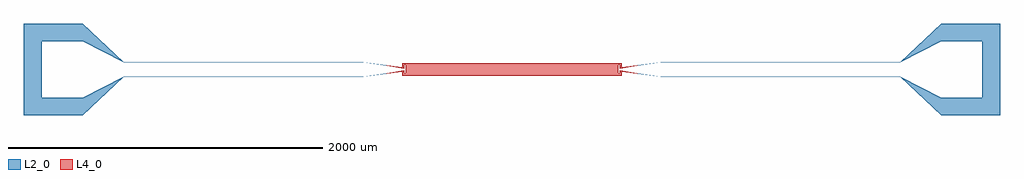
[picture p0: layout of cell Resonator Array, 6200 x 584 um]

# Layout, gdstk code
import gdstk
lib = gdstk.Library(unit=1e-6, precision=1e-09)
def P(c, l, *ps):  # polygons
    for p in ps: c.add(gdstk.Polygon(p, *l))
L2_0 = (2, 0)
L4_0 = (4, 0)

resonator_array = lib.new_cell('Resonator Array')
P(resonator_array, L2_0, [(1443,51.306),(1443,47.259),(1593,69.9),(3112,69.9),(3373.5,204.9),(3635,204.9),(3635,-155.1),(3373.5,-155.1),(3112,-20.1),(1593,-20.1),(1443,2.541),(1443,-1.506),(1593,-21.6),(3112,-21.6),(3373.5,-267.1),(3747,-267.1),(3747,316.9),(3373.5,316.9),(3112,71.4),(1593,71.4)],
  [(-2453,316.9),(-2453,-267.1),(-2079.5,-267.1),(-1818,-21.6),(-299,-21.6),(-149,-1.506),(-149,2.541),(-299,-20.1),(-1818,-20.1),(-2079.5,-155.1),(-2341,-155.1),(-2341,204.9),(-2079.5,204.9),(-1818,69.9),(-299,69.9),(-149,47.259),(-149,51.306),(-299,71.4),(-1818,71.4),(-2079.5,316.9)])
P(resonator_array, L4_0, [(365.5,64.8),(336.25,64.8),(336.25,55.65),(327.1,55.65),(327.1,51.15),(345.4,51.15),(345.4,45.65),(327.1,45.65),(327.1,41.15),(345.4,41.15),(345.4,35.65),(327.1,35.65),(327.1,31.15),(345.4,31.15),(345.4,25.65),(327.1,25.65),(327.1,21.15),(345.4,21.15),(345.4,15.65),(327.1,15.65),(327.1,11.15),(336.25,11.15),(336.25,2),(353,2),(353,56.15),(355,56.15),(355,0),(317,0),(317,56.15),(319,56.15),(319,2),(335.75,2),(335.75,10.65),(326.6,10.65),(326.6,16.15),(344.9,16.15),(344.9,20.65),(326.6,20.65),(326.6,26.15),(344.9,26.15),(344.9,30.65),(326.6,30.65),(326.6,36.15),(344.9,36.15),(344.9,40.65),(326.6,40.65),(326.6,46.15),(344.9,46.15),(344.9,50.65),(326.6,50.65),(326.6,56.15),(335.75,56.15),(335.75,64.8),(312.5,64.8),(312.5,-15),(365.5,-15)],
  [(85.5,64.8),(62.25,64.8),(62.25,55.65),(53.1,55.65),(53.1,51.15),(71.4,51.15),(71.4,45.65),(53.1,45.65),(53.1,41.15),(71.4,41.15),(71.4,35.65),(53.1,35.65),(53.1,31.15),(71.4,31.15),(71.4,25.65),(53.1,25.65),(53.1,21.15),(71.4,21.15),(71.4,15.65),(53.1,15.65),(53.1,11.15),(62.25,11.15),(62.25,2),(79,2),(79,56.15),(81,56.15),(81,0),(43,0),(43,56.15),(45,56.15),(45,2),(61.75,2),(61.75,10.65),(52.6,10.65),(52.6,16.15),(70.9,16.15),(70.9,20.65),(52.6,20.65),(52.6,26.15),(70.9,26.15),(70.9,30.65),(52.6,30.65),(52.6,36.15),(70.9,36.15),(70.9,40.65),(52.6,40.65),(52.6,46.15),(70.9,46.15),(70.9,50.65),(52.6,50.65),(52.6,56.15),(61.75,56.15),(61.75,64.8),(32.5,64.8),(32.5,-15),(85.5,-15)],
  [(197.5,64.8),(174.25,64.8),(174.25,55.65),(165.1,55.65),(165.1,51.15),(183.4,51.15),(183.4,45.65),(165.1,45.65),(165.1,41.15),(183.4,41.15),(183.4,35.65),(165.1,35.65),(165.1,31.15),(183.4,31.15),(183.4,25.65),(165.1,25.65),(165.1,21.15),(183.4,21.15),(183.4,15.65),(165.1,15.65),(165.1,11.15),(174.25,11.15),(174.25,2),(191,2),(191,56.15),(193,56.15),(193,0),(155,0),(155,56.15),(157,56.15),(157,2),(173.75,2),(173.75,10.65),(164.6,10.65),(164.6,16.15),(182.9,16.15),(182.9,20.65),(164.6,20.65),(164.6,26.15),(182.9,26.15),(182.9,30.65),(164.6,30.65),(164.6,36.15),(182.9,36.15),(182.9,40.65),(164.6,40.65),(164.6,46.15),(182.9,46.15),(182.9,50.65),(164.6,50.65),(164.6,56.15),(173.75,56.15),(173.75,64.8),(144.5,64.8),(144.5,-15),(197.5,-15)],
  [(141.5,64.8),(112.25,64.8),(112.25,55.65),(103.1,55.65),(103.1,51.15),(121.4,51.15),(121.4,45.65),(103.1,45.65),(103.1,41.15),(121.4,41.15),(121.4,35.65),(103.1,35.65),(103.1,31.15),(121.4,31.15),(121.4,25.65),(103.1,25.65),(103.1,21.15),(121.4,21.15),(121.4,15.65),(103.1,15.65),(103.1,11.15),(112.25,11.15),(112.25,2),(129,2),(129,56.15),(131,56.15),(131,0),(93,0),(93,56.15),(95,56.15),(95,2),(111.75,2),(111.75,10.65),(102.6,10.65),(102.6,16.15),(120.9,16.15),(120.9,20.65),(102.6,20.65),(102.6,26.15),(120.9,26.15),(120.9,30.65),(102.6,30.65),(102.6,36.15),(120.9,36.15),(120.9,40.65),(102.6,40.65),(102.6,46.15),(120.9,46.15),(120.9,50.65),(102.6,50.65),(102.6,56.15),(111.75,56.15),(111.75,64.8),(88.5,64.8),(88.5,-15),(141.5,-15)],
  [(869.5,64.8),(846.25,64.8),(846.25,55.65),(837.1,55.65),(837.1,51.15),(855.4,51.15),(855.4,45.65),(837.1,45.65),(837.1,41.15),(855.4,41.15),(855.4,35.65),(837.1,35.65),(837.1,31.15),(855.4,31.15),(855.4,25.65),(837.1,25.65),(837.1,21.15),(855.4,21.15),(855.4,15.65),(837.1,15.65),(837.1,11.15),(846.25,11.15),(846.25,2),(863,2),(863,56.15),(865,56.15),(865,0),(827,0),(827,56.15),(829,56.15),(829,2),(845.75,2),(845.75,10.65),(836.6,10.65),(836.6,16.15),(854.9,16.15),(854.9,20.65),(836.6,20.65),(836.6,26.15),(854.9,26.15),(854.9,30.65),(836.6,30.65),(836.6,36.15),(854.9,36.15),(854.9,40.65),(836.6,40.65),(836.6,46.15),(854.9,46.15),(854.9,50.65),(836.6,50.65),(836.6,56.15),(845.75,56.15),(845.75,64.8),(816.5,64.8),(816.5,-15),(869.5,-15)],
  [(925.5,64.8),(896.25,64.8),(896.25,55.65),(887.1,55.65),(887.1,51.15),(905.4,51.15),(905.4,45.65),(887.1,45.65),(887.1,41.15),(905.4,41.15),(905.4,35.65),(887.1,35.65),(887.1,31.15),(905.4,31.15),(905.4,25.65),(887.1,25.65),(887.1,21.15),(905.4,21.15),(905.4,15.65),(887.1,15.65),(887.1,11.15),(896.25,11.15),(896.25,2),(913,2),(913,56.15),(915,56.15),(915,0),(877,0),(877,56.15),(879,56.15),(879,2),(895.75,2),(895.75,10.65),(886.6,10.65),(886.6,16.15),(904.9,16.15),(904.9,20.65),(886.6,20.65),(886.6,26.15),(904.9,26.15),(904.9,30.65),(886.6,30.65),(886.6,36.15),(904.9,36.15),(904.9,40.65),(886.6,40.65),(886.6,46.15),(904.9,46.15),(904.9,50.65),(886.6,50.65),(886.6,56.15),(895.75,56.15),(895.75,64.8),(872.5,64.8),(872.5,-15),(925.5,-15)],
  [(421.5,64.8),(398.25,64.8),(398.25,55.65),(389.1,55.65),(389.1,51.15),(407.4,51.15),(407.4,45.65),(389.1,45.65),(389.1,41.15),(407.4,41.15),(407.4,35.65),(389.1,35.65),(389.1,31.15),(407.4,31.15),(407.4,25.65),(389.1,25.65),(389.1,21.15),(407.4,21.15),(407.4,15.65),(389.1,15.65),(389.1,11.15),(398.25,11.15),(398.25,2),(415,2),(415,56.15),(417,56.15),(417,0),(379,0),(379,56.15),(381,56.15),(381,2),(397.75,2),(397.75,10.65),(388.6,10.65),(388.6,16.15),(406.9,16.15),(406.9,20.65),(388.6,20.65),(388.6,26.15),(406.9,26.15),(406.9,30.65),(388.6,30.65),(388.6,36.15),(406.9,36.15),(406.9,40.65),(388.6,40.65),(388.6,46.15),(406.9,46.15),(406.9,50.65),(388.6,50.65),(388.6,56.15),(397.75,56.15),(397.75,64.8),(368.5,64.8),(368.5,-15),(421.5,-15)],
  [(981.5,64.8),(958.25,64.8),(958.25,55.65),(949.1,55.65),(949.1,51.15),(967.4,51.15),(967.4,45.65),(949.1,45.65),(949.1,41.15),(967.4,41.15),(967.4,35.65),(949.1,35.65),(949.1,31.15),(967.4,31.15),(967.4,25.65),(949.1,25.65),(949.1,21.15),(967.4,21.15),(967.4,15.65),(949.1,15.65),(949.1,11.15),(958.25,11.15),(958.25,2),(975,2),(975,56.15),(977,56.15),(977,0),(939,0),(939,56.15),(941,56.15),(941,2),(957.75,2),(957.75,10.65),(948.6,10.65),(948.6,16.15),(966.9,16.15),(966.9,20.65),(948.6,20.65),(948.6,26.15),(966.9,26.15),(966.9,30.65),(948.6,30.65),(948.6,36.15),(966.9,36.15),(966.9,40.65),(948.6,40.65),(948.6,46.15),(966.9,46.15),(966.9,50.65),(948.6,50.65),(948.6,56.15),(957.75,56.15),(957.75,64.8),(928.5,64.8),(928.5,-15),(981.5,-15)],
  [(477.5,64.8),(448.25,64.8),(448.25,55.65),(439.1,55.65),(439.1,51.15),(457.4,51.15),(457.4,45.65),(439.1,45.65),(439.1,41.15),(457.4,41.15),(457.4,35.65),(439.1,35.65),(439.1,31.15),(457.4,31.15),(457.4,25.65),(439.1,25.65),(439.1,21.15),(457.4,21.15),(457.4,15.65),(439.1,15.65),(439.1,11.15),(448.25,11.15),(448.25,2),(465,2),(465,56.15),(467,56.15),(467,0),(429,0),(429,56.15),(431,56.15),(431,2),(447.75,2),(447.75,10.65),(438.6,10.65),(438.6,16.15),(456.9,16.15),(456.9,20.65),(438.6,20.65),(438.6,26.15),(456.9,26.15),(456.9,30.65),(438.6,30.65),(438.6,36.15),(456.9,36.15),(456.9,40.65),(438.6,40.65),(438.6,46.15),(456.9,46.15),(456.9,50.65),(438.6,50.65),(438.6,56.15),(447.75,56.15),(447.75,64.8),(424.5,64.8),(424.5,-15),(477.5,-15)],
  [(533.5,64.8),(510.25,64.8),(510.25,55.65),(501.1,55.65),(501.1,51.15),(519.4,51.15),(519.4,45.65),(501.1,45.65),(501.1,41.15),(519.4,41.15),(519.4,35.65),(501.1,35.65),(501.1,31.15),(519.4,31.15),(519.4,25.65),(501.1,25.65),(501.1,21.15),(519.4,21.15),(519.4,15.65),(501.1,15.65),(501.1,11.15),(510.25,11.15),(510.25,2),(527,2),(527,56.15),(529,56.15),(529,0),(491,0),(491,56.15),(493,56.15),(493,2),(509.75,2),(509.75,10.65),(500.6,10.65),(500.6,16.15),(518.9,16.15),(518.9,20.65),(500.6,20.65),(500.6,26.15),(518.9,26.15),(518.9,30.65),(500.6,30.65),(500.6,36.15),(518.9,36.15),(518.9,40.65),(500.6,40.65),(500.6,46.15),(518.9,46.15),(518.9,50.65),(500.6,50.65),(500.6,56.15),(509.75,56.15),(509.75,64.8),(480.5,64.8),(480.5,-15),(533.5,-15)],
  [(1037.5,64.8),(1008.25,64.8),(1008.25,55.65),(999.1,55.65),(999.1,51.15),(1017.4,51.15),(1017.4,45.65),(999.1,45.65),(999.1,41.15),(1017.4,41.15),(1017.4,35.65),(999.1,35.65),(999.1,31.15),(1017.4,31.15),(1017.4,25.65),(999.1,25.65),(999.1,21.15),(1017.4,21.15),(1017.4,15.65),(999.1,15.65),(999.1,11.15),(1008.25,11.15),(1008.25,2),(1025,2),(1025,56.15),(1027,56.15),(1027,0),(989,0),(989,56.15),(991,56.15),(991,2),(1007.75,2),(1007.75,10.65),(998.6,10.65),(998.6,16.15),(1016.9,16.15),(1016.9,20.65),(998.6,20.65),(998.6,26.15),(1016.9,26.15),(1016.9,30.65),(998.6,30.65),(998.6,36.15),(1016.9,36.15),(1016.9,40.65),(998.6,40.65),(998.6,46.15),(1016.9,46.15),(1016.9,50.65),(998.6,50.65),(998.6,56.15),(1007.75,56.15),(1007.75,64.8),(984.5,64.8),(984.5,-15),(1037.5,-15)],
  [(589.5,64.8),(560.25,64.8),(560.25,55.65),(551.1,55.65),(551.1,51.15),(569.4,51.15),(569.4,45.65),(551.1,45.65),(551.1,41.15),(569.4,41.15),(569.4,35.65),(551.1,35.65),(551.1,31.15),(569.4,31.15),(569.4,25.65),(551.1,25.65),(551.1,21.15),(569.4,21.15),(569.4,15.65),(551.1,15.65),(551.1,11.15),(560.25,11.15),(560.25,2),(577,2),(577,56.15),(579,56.15),(579,0),(541,0),(541,56.15),(543,56.15),(543,2),(559.75,2),(559.75,10.65),(550.6,10.65),(550.6,16.15),(568.9,16.15),(568.9,20.65),(550.6,20.65),(550.6,26.15),(568.9,26.15),(568.9,30.65),(550.6,30.65),(550.6,36.15),(568.9,36.15),(568.9,40.65),(550.6,40.65),(550.6,46.15),(568.9,46.15),(568.9,50.65),(550.6,50.65),(550.6,56.15),(559.75,56.15),(559.75,64.8),(536.5,64.8),(536.5,-15),(589.5,-15)],
  [(1093.5,64.8),(1070.25,64.8),(1070.25,55.65),(1061.1,55.65),(1061.1,51.15),(1079.4,51.15),(1079.4,45.65),(1061.1,45.65),(1061.1,41.15),(1079.4,41.15),(1079.4,35.65),(1061.1,35.65),(1061.1,31.15),(1079.4,31.15),(1079.4,25.65),(1061.1,25.65),(1061.1,21.15),(1079.4,21.15),(1079.4,15.65),(1061.1,15.65),(1061.1,11.15),(1070.25,11.15),(1070.25,2),(1087,2),(1087,56.15),(1089,56.15),(1089,0),(1051,0),(1051,56.15),(1053,56.15),(1053,2),(1069.75,2),(1069.75,10.65),(1060.6,10.65),(1060.6,16.15),(1078.9,16.15),(1078.9,20.65),(1060.6,20.65),(1060.6,26.15),(1078.9,26.15),(1078.9,30.65),(1060.6,30.65),(1060.6,36.15),(1078.9,36.15),(1078.9,40.65),(1060.6,40.65),(1060.6,46.15),(1078.9,46.15),(1078.9,50.65),(1060.6,50.65),(1060.6,56.15),(1069.75,56.15),(1069.75,64.8),(1040.5,64.8),(1040.5,-15),(1093.5,-15)],
  [(645.5,64.8),(622.25,64.8),(622.25,55.65),(613.1,55.65),(613.1,51.15),(631.4,51.15),(631.4,45.65),(613.1,45.65),(613.1,41.15),(631.4,41.15),(631.4,35.65),(613.1,35.65),(613.1,31.15),(631.4,31.15),(631.4,25.65),(613.1,25.65),(613.1,21.15),(631.4,21.15),(631.4,15.65),(613.1,15.65),(613.1,11.15),(622.25,11.15),(622.25,2),(639,2),(639,56.15),(641,56.15),(641,0),(603,0),(603,56.15),(605,56.15),(605,2),(621.75,2),(621.75,10.65),(612.6,10.65),(612.6,16.15),(630.9,16.15),(630.9,20.65),(612.6,20.65),(612.6,26.15),(630.9,26.15),(630.9,30.65),(612.6,30.65),(612.6,36.15),(630.9,36.15),(630.9,40.65),(612.6,40.65),(612.6,46.15),(630.9,46.15),(630.9,50.65),(612.6,50.65),(612.6,56.15),(621.75,56.15),(621.75,64.8),(592.5,64.8),(592.5,-15),(645.5,-15)],
  [(253.5,64.8),(224.25,64.8),(224.25,55.65),(215.1,55.65),(215.1,51.15),(233.4,51.15),(233.4,45.65),(215.1,45.65),(215.1,41.15),(233.4,41.15),(233.4,35.65),(215.1,35.65),(215.1,31.15),(233.4,31.15),(233.4,25.65),(215.1,25.65),(215.1,21.15),(233.4,21.15),(233.4,15.65),(215.1,15.65),(215.1,11.15),(224.25,11.15),(224.25,2),(241,2),(241,56.15),(243,56.15),(243,0),(205,0),(205,56.15),(207,56.15),(207,2),(223.75,2),(223.75,10.65),(214.6,10.65),(214.6,16.15),(232.9,16.15),(232.9,20.65),(214.6,20.65),(214.6,26.15),(232.9,26.15),(232.9,30.65),(214.6,30.65),(214.6,36.15),(232.9,36.15),(232.9,40.65),(214.6,40.65),(214.6,46.15),(232.9,46.15),(232.9,50.65),(214.6,50.65),(214.6,56.15),(223.75,56.15),(223.75,64.8),(200.5,64.8),(200.5,-15),(253.5,-15)],
  [(701.5,64.8),(672.25,64.8),(672.25,55.65),(663.1,55.65),(663.1,51.15),(681.4,51.15),(681.4,45.65),(663.1,45.65),(663.1,41.15),(681.4,41.15),(681.4,35.65),(663.1,35.65),(663.1,31.15),(681.4,31.15),(681.4,25.65),(663.1,25.65),(663.1,21.15),(681.4,21.15),(681.4,15.65),(663.1,15.65),(663.1,11.15),(672.25,11.15),(672.25,2),(689,2),(689,56.15),(691,56.15),(691,0),(653,0),(653,56.15),(655,56.15),(655,2),(671.75,2),(671.75,10.65),(662.6,10.65),(662.6,16.15),(680.9,16.15),(680.9,20.65),(662.6,20.65),(662.6,26.15),(680.9,26.15),(680.9,30.65),(662.6,30.65),(662.6,36.15),(680.9,36.15),(680.9,40.65),(662.6,40.65),(662.6,46.15),(680.9,46.15),(680.9,50.65),(662.6,50.65),(662.6,56.15),(671.75,56.15),(671.75,64.8),(648.5,64.8),(648.5,-15),(701.5,-15)],
  [(1149.5,64.8),(1120.25,64.8),(1120.25,55.65),(1111.1,55.65),(1111.1,51.15),(1129.4,51.15),(1129.4,45.65),(1111.1,45.65),(1111.1,41.15),(1129.4,41.15),(1129.4,35.65),(1111.1,35.65),(1111.1,31.15),(1129.4,31.15),(1129.4,25.65),(1111.1,25.65),(1111.1,21.15),(1129.4,21.15),(1129.4,15.65),(1111.1,15.65),(1111.1,11.15),(1120.25,11.15),(1120.25,2),(1137,2),(1137,56.15),(1139,56.15),(1139,0),(1101,0),(1101,56.15),(1103,56.15),(1103,2),(1119.75,2),(1119.75,10.65),(1110.6,10.65),(1110.6,16.15),(1128.9,16.15),(1128.9,20.65),(1110.6,20.65),(1110.6,26.15),(1128.9,26.15),(1128.9,30.65),(1110.6,30.65),(1110.6,36.15),(1128.9,36.15),(1128.9,40.65),(1110.6,40.65),(1110.6,46.15),(1128.9,46.15),(1128.9,50.65),(1110.6,50.65),(1110.6,56.15),(1119.75,56.15),(1119.75,64.8),(1096.5,64.8),(1096.5,-15),(1149.5,-15)],
  [(757.5,64.8),(734.25,64.8),(734.25,55.65),(725.1,55.65),(725.1,51.15),(743.4,51.15),(743.4,45.65),(725.1,45.65),(725.1,41.15),(743.4,41.15),(743.4,35.65),(725.1,35.65),(725.1,31.15),(743.4,31.15),(743.4,25.65),(725.1,25.65),(725.1,21.15),(743.4,21.15),(743.4,15.65),(725.1,15.65),(725.1,11.15),(734.25,11.15),(734.25,2),(751,2),(751,56.15),(753,56.15),(753,0),(715,0),(715,56.15),(717,56.15),(717,2),(733.75,2),(733.75,10.65),(724.6,10.65),(724.6,16.15),(742.9,16.15),(742.9,20.65),(724.6,20.65),(724.6,26.15),(742.9,26.15),(742.9,30.65),(724.6,30.65),(724.6,36.15),(742.9,36.15),(742.9,40.65),(724.6,40.65),(724.6,46.15),(742.9,46.15),(742.9,50.65),(724.6,50.65),(724.6,56.15),(733.75,56.15),(733.75,64.8),(704.5,64.8),(704.5,-15),(757.5,-15)],
  [(1205.5,64.8),(1182.25,64.8),(1182.25,55.65),(1173.1,55.65),(1173.1,51.15),(1191.4,51.15),(1191.4,45.65),(1173.1,45.65),(1173.1,41.15),(1191.4,41.15),(1191.4,35.65),(1173.1,35.65),(1173.1,31.15),(1191.4,31.15),(1191.4,25.65),(1173.1,25.65),(1173.1,21.15),(1191.4,21.15),(1191.4,15.65),(1173.1,15.65),(1173.1,11.15),(1182.25,11.15),(1182.25,2),(1199,2),(1199,56.15),(1201,56.15),(1201,0),(1163,0),(1163,56.15),(1165,56.15),(1165,2),(1181.75,2),(1181.75,10.65),(1172.6,10.65),(1172.6,16.15),(1190.9,16.15),(1190.9,20.65),(1172.6,20.65),(1172.6,26.15),(1190.9,26.15),(1190.9,30.65),(1172.6,30.65),(1172.6,36.15),(1190.9,36.15),(1190.9,40.65),(1172.6,40.65),(1172.6,46.15),(1190.9,46.15),(1190.9,50.65),(1172.6,50.65),(1172.6,56.15),(1181.75,56.15),(1181.75,64.8),(1152.5,64.8),(1152.5,-15),(1205.5,-15)],
  [(29.5,64.8),(0.25,64.8),(0.25,55.65),(-8.9,55.65),(-8.9,51.15),(9.4,51.15),(9.4,45.65),(-8.9,45.65),(-8.9,41.15),(9.4,41.15),(9.4,35.65),(-8.9,35.65),(-8.9,31.15),(9.4,31.15),(9.4,25.65),(-8.9,25.65),(-8.9,21.15),(9.4,21.15),(9.4,15.65),(-8.9,15.65),(-8.9,11.15),(0.25,11.15),(0.25,2),(17,2),(17,56.15),(19,56.15),(19,0),(-19,0),(-19,56.15),(-17,56.15),(-17,2),(-0.25,2),(-0.25,10.65),(-9.4,10.65),(-9.4,16.15),(8.9,16.15),(8.9,20.65),(-9.4,20.65),(-9.4,26.15),(8.9,26.15),(8.9,30.65),(-9.4,30.65),(-9.4,36.15),(8.9,36.15),(8.9,40.65),(-9.4,40.65),(-9.4,46.15),(8.9,46.15),(8.9,50.65),(-9.4,50.65),(-9.4,56.15),(-0.25,56.15),(-0.25,64.8),(-49,64.8),(-49,37.91),(-150,51.44),(-150,47.41),(-39,30.655),(-39,56.15),(-29,56.15),(-29,0),(-39,0),(-39,19.145),(-150,2.39),(-150,-1.64),(-49,11.89),(-49,-15),(29.5,-15)],
  [(309.5,64.8),(286.25,64.8),(286.25,55.65),(277.1,55.65),(277.1,51.15),(295.4,51.15),(295.4,45.65),(277.1,45.65),(277.1,41.15),(295.4,41.15),(295.4,35.65),(277.1,35.65),(277.1,31.15),(295.4,31.15),(295.4,25.65),(277.1,25.65),(277.1,21.15),(295.4,21.15),(295.4,15.65),(277.1,15.65),(277.1,11.15),(286.25,11.15),(286.25,2),(303,2),(303,56.15),(305,56.15),(305,0),(267,0),(267,56.15),(269,56.15),(269,2),(285.75,2),(285.75,10.65),(276.6,10.65),(276.6,16.15),(294.9,16.15),(294.9,20.65),(276.6,20.65),(276.6,26.15),(294.9,26.15),(294.9,30.65),(276.6,30.65),(276.6,36.15),(294.9,36.15),(294.9,40.65),(276.6,40.65),(276.6,46.15),(294.9,46.15),(294.9,50.65),(276.6,50.65),(276.6,56.15),(285.75,56.15),(285.75,64.8),(256.5,64.8),(256.5,-15),(309.5,-15)],
  [(1261.5,64.8),(1232.25,64.8),(1232.25,55.65),(1223.1,55.65),(1223.1,51.15),(1241.4,51.15),(1241.4,45.65),(1223.1,45.65),(1223.1,41.15),(1241.4,41.15),(1241.4,35.65),(1223.1,35.65),(1223.1,31.15),(1241.4,31.15),(1241.4,25.65),(1223.1,25.65),(1223.1,21.15),(1241.4,21.15),(1241.4,15.65),(1223.1,15.65),(1223.1,11.15),(1232.25,11.15),(1232.25,2),(1249,2),(1249,56.15),(1251,56.15),(1251,0),(1213,0),(1213,56.15),(1215,56.15),(1215,2),(1231.75,2),(1231.75,10.65),(1222.6,10.65),(1222.6,16.15),(1240.9,16.15),(1240.9,20.65),(1222.6,20.65),(1222.6,26.15),(1240.9,26.15),(1240.9,30.65),(1222.6,30.65),(1222.6,36.15),(1240.9,36.15),(1240.9,40.65),(1222.6,40.65),(1222.6,46.15),(1240.9,46.15),(1240.9,50.65),(1222.6,50.65),(1222.6,56.15),(1231.75,56.15),(1231.75,64.8),(1208.5,64.8),(1208.5,-15),(1261.5,-15)],
  [(813.5,64.8),(784.25,64.8),(784.25,55.65),(775.1,55.65),(775.1,51.15),(793.4,51.15),(793.4,45.65),(775.1,45.65),(775.1,41.15),(793.4,41.15),(793.4,35.65),(775.1,35.65),(775.1,31.15),(793.4,31.15),(793.4,25.65),(775.1,25.65),(775.1,21.15),(793.4,21.15),(793.4,15.65),(775.1,15.65),(775.1,11.15),(784.25,11.15),(784.25,2),(801,2),(801,56.15),(803,56.15),(803,0),(765,0),(765,56.15),(767,56.15),(767,2),(783.75,2),(783.75,10.65),(774.6,10.65),(774.6,16.15),(792.9,16.15),(792.9,20.65),(774.6,20.65),(774.6,26.15),(792.9,26.15),(792.9,30.65),(774.6,30.65),(774.6,36.15),(792.9,36.15),(792.9,40.65),(774.6,40.65),(774.6,46.15),(792.9,46.15),(792.9,50.65),(774.6,50.65),(774.6,56.15),(783.75,56.15),(783.75,64.8),(760.5,64.8),(760.5,-15),(813.5,-15)],
  [(1343,11.89),(1444,-1.64),(1444,2.39),(1333,19.145),(1333,0),(1323,0),(1323,56.15),(1333,56.15),(1333,30.655),(1444,47.41),(1444,51.44),(1343,37.91),(1343,64.8),(1294.25,64.8),(1294.25,55.65),(1285.1,55.65),(1285.1,51.15),(1303.4,51.15),(1303.4,45.65),(1285.1,45.65),(1285.1,41.15),(1303.4,41.15),(1303.4,35.65),(1285.1,35.65),(1285.1,31.15),(1303.4,31.15),(1303.4,25.65),(1285.1,25.65),(1285.1,21.15),(1303.4,21.15),(1303.4,15.65),(1285.1,15.65),(1285.1,11.15),(1294.25,11.15),(1294.25,2),(1311,2),(1311,56.15),(1313,56.15),(1313,0),(1275,0),(1275,56.15),(1277,56.15),(1277,2),(1293.75,2),(1293.75,10.65),(1284.6,10.65),(1284.6,16.15),(1302.9,16.15),(1302.9,20.65),(1284.6,20.65),(1284.6,26.15),(1302.9,26.15),(1302.9,30.65),(1284.6,30.65),(1284.6,36.15),(1302.9,36.15),(1302.9,40.65),(1284.6,40.65),(1284.6,46.15),(1302.9,46.15),(1302.9,50.65),(1284.6,50.65),(1284.6,56.15),(1293.75,56.15),(1293.75,64.8),(1264.5,64.8),(1264.5,-15),(1343,-15)])

lib.write_gds('Resonator_Array.gds')
